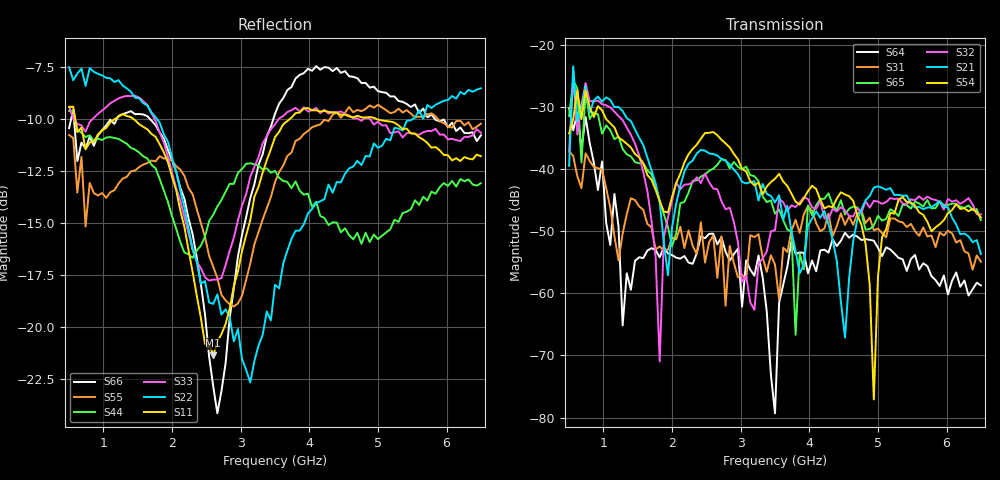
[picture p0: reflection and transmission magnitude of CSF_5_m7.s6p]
!Keysight Technologies,M9804A,MY58100912,A.14.10.03
!Date: Thursday, April 27, 2023 10:28:33
!Correction: S11(C  6-Port  )
!S12(C  6-Port  )
!S13(C  6-Port  )
!S14(C  6-Port  )
!S15(C  6-Port  )
!S16(C  6-Port  )
!S21(C  6-Port  )
!S22(C  6-Port  )
!S23(C  6-Port  )
!S24(C  6-Port  )
!S25(C  6-Port  )
!S26(C  6-Port  )
!S31(C  6-Port  )
!S32(C  6-Port  )
!S33(C  6-Port  )
!S34(C  6-Port  )
!S35(C  6-Port  )
!S36(C  6-Port  )
!S41(C  6-Port  )
!S42(C  6-Port  )
!S43(C  6-Port  )
!S44(C  6-Port  )
!S45(C  6-Port  )
!S46(C  6-Port  )
!S51(C  6-Port  )
!S52(C  6-Port  )
!S53(C  6-Port  )
!S54(C  6-Port  )
!S55(C  6-Port  )
!S56(C  6-Port  )
!S61(C  6-Port  )
!S62(C  6-Port  )
!S63(C  6-Port  )
!S64(C  6-Port  )
!S65(C  6-Port  )
!S66(C  6-Port  )
!S6P File: Measurement: :
# Hz S  RI  R 50
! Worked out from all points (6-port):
!   101 points, 500 MHz to 6.5 GHz, reference 50 ohm
!   strongest paths, dB at 500 MHz, 2 GHz, 3.5 GHz, 5 GHz, 6.5 GHz:
!     S54: -34.3, -44.5, -41.5, -57.4, -47.8
!     S21: -39.5, -49.4, -45.4, -42.8, -53.7
!     S32: -37.1, -45.1, -49.8, -45.2, -47.3
!     S65: -31.4, -52.4, -47.2, -47.5, -48.2
!     S31: -37.1, -51.0, -55.3, -49.6, -54.9
!     S64: -30.2, -53.8, -79.3, -52.7, -58.7
!   lowest |S11| = -21.4 dB at 2.6 GHz (marker M1), VSWR 1.19, Z = 42.4 + j2.2 ohm
!   |S11| at or under -10 dB: 589.1 MHz to 1.167 GHz (577.7 MHz wide, 65.8 % of centre); 1.438 GHz to 3.715 GHz (2.277 GHz wide, 88.4 % of centre); 4.98 GHz to end of sweep
